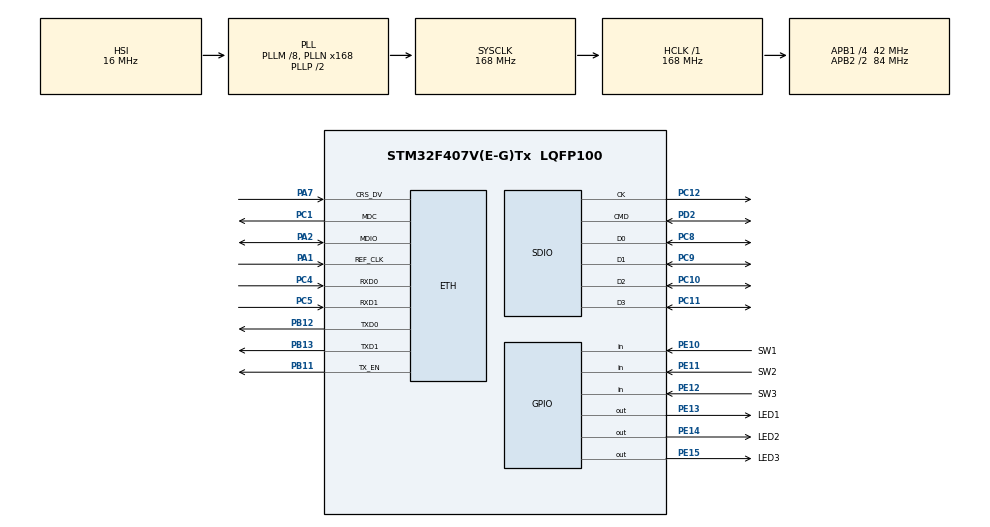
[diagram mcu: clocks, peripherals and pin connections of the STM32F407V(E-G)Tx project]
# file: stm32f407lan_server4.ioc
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Dma.Request0=SDIO_RX
Dma.Request1=SDIO_TX
Dma.SDIO_RX.0.Direction=DMA_PERIPH_TO_MEMORY
Dma.SDIO_RX.0.FIFOMode=DMA_FIFOMODE_ENABLE
Dma.SDIO_RX.0.FIFOThreshold=DMA_FIFO_THRESHOLD_FULL
Dma.SDIO_RX.0.Instance=DMA2_Stream3
Dma.SDIO_RX.0.MemBurst=DMA_MBURST_INC4
Dma.SDIO_RX.0.MemDataAlignment=DMA_MDATAALIGN_WORD
Dma.SDIO_RX.0.MemInc=DMA_MINC_ENABLE
Dma.SDIO_RX.0.Mode=DMA_PFCTRL
Dma.SDIO_RX.0.PeriphBurst=DMA_PBURST_INC4
Dma.SDIO_RX.0.PeriphDataAlignment=DMA_PDATAALIGN_WORD
Dma.SDIO_RX.0.PeriphInc=DMA_PINC_DISABLE
Dma.SDIO_RX.0.Priority=DMA_PRIORITY_LOW
Dma.SDIO_TX.1.Direction=DMA_MEMORY_TO_PERIPH
Dma.SDIO_TX.1.FIFOMode=DMA_FIFOMODE_ENABLE
Dma.SDIO_TX.1.FIFOThreshold=DMA_FIFO_THRESHOLD_FULL
Dma.SDIO_TX.1.Instance=DMA2_Stream6
Dma.SDIO_TX.1.MemBurst=DMA_MBURST_INC4
Dma.SDIO_TX.1.MemDataAlignment=DMA_MDATAALIGN_WORD
Dma.SDIO_TX.1.MemInc=DMA_MINC_ENABLE
Dma.SDIO_TX.1.Mode=DMA_PFCTRL
Dma.SDIO_TX.1.PeriphBurst=DMA_PBURST_INC4
Dma.SDIO_TX.1.PeriphDataAlignment=DMA_PDATAALIGN_WORD
Dma.SDIO_TX.1.PeriphInc=DMA_PINC_DISABLE
Dma.SDIO_TX.1.Priority=DMA_PRIORITY_LOW
ETH.MACAddr=00\:80\:E1\:00\:00\:01
ETH.MediaInterface=ETH_MEDIA_INTERFACE_RMII
ETH.PHY_Name_RMII=DP83848_PHY_ADDRESS
FATFS._MAX_SS=4096
FATFS._USE_LFN=2
FREERTOS.Tasks01=defaultTask,24,128,StartDefaultTask,Default,NULL,Dynamic,NULL,NULL
FREERTOS.configGENERATE_RUN_TIME_STATS=1
FREERTOS.configLIBRARY_MAX_SYSCALL_INTERRUPT_PRIORITY=2
FREERTOS.configTOTAL_HEAP_SIZE=8000
FREERTOS.configUSE_NEWLIB_REENTRANT=1
FREERTOS.configUSE_STATS_FORMATTING_FUNCTIONS=1
LWIP.GATEWAY_ADDRESS=192.168.000.001
LWIP.IP_ADDRESS=192.168.000.178
LWIP.LWIP_DHCP=0
LWIP.NETMASK_ADDRESS=255.255.255.000
LWIP.Version=v2.1.2_Cube
Mcu.Family=STM32F4
Mcu.Name=STM32F407V(E-G)Tx
Mcu.Package=LQFP100
NVIC.DMA2_Stream3_IRQn=true\:2\:0\:false\:false\:true\:true\:false\:true\:true
NVIC.DMA2_Stream6_IRQn=true\:2\:0\:false\:false\:true\:true\:false\:true\:true
NVIC.ETH_IRQn=true\:2\:0\:false\:false\:true\:true\:true\:true\:true
NVIC.PriorityGroup=NVIC_PRIORITYGROUP_4
NVIC.SDIO_IRQn=true\:2\:0\:false\:false\:true\:true\:true\:true\:true
NVIC.TIM1_UP_TIM10_IRQn=true\:2\:0\:false\:false\:true\:true\:true\:true\:true
NVIC.TIM6_DAC_IRQn=true\:15\:0\:false\:false\:true\:false\:false\:true\:true
NVIC.TimeBase=TIM6_DAC_IRQn
NVIC.TimeBaseIP=TIM6
PA1.Mode=RMII
PA1.Signal=ETH_REF_CLK
PA13.Mode=Trace_Asynchronous_SW
PA13.Signal=SYS_JTMS-SWDIO
PA14.Mode=Trace_Asynchronous_SW
PA14.Signal=SYS_JTCK-SWCLK
PA2.Mode=RMII
PA2.Signal=ETH_MDIO
PA7.Mode=RMII
PA7.Signal=ETH_CRS_DV
PB11.Mode=RMII
PB11.Signal=ETH_TX_EN
PB12.Mode=RMII
PB12.Signal=ETH_TXD0
PB13.Mode=RMII
PB13.Signal=ETH_TXD1
PB3.Mode=Trace_Asynchronous_SW
PB3.Signal=SYS_JTDO-SWO
PC1.Mode=RMII
PC1.Signal=ETH_MDC
PC10.GPIO_PuPd=GPIO_PULLUP
PC10.Mode=SD_4_bits_Wide_bus
PC10.Signal=SDIO_D2
PC11.GPIO_PuPd=GPIO_PULLUP
PC11.Mode=SD_4_bits_Wide_bus
PC11.Signal=SDIO_D3
PC12.GPIO_PuPd=GPIO_PULLUP
PC12.Mode=SD_4_bits_Wide_bus
PC12.Signal=SDIO_CK
PC4.Mode=RMII
PC4.Signal=ETH_RXD0
PC5.Mode=RMII
PC5.Signal=ETH_RXD1
PC8.GPIO_PuPd=GPIO_PULLUP
PC8.Mode=SD_4_bits_Wide_bus
PC8.Signal=SDIO_D0
PC9.GPIO_PuPd=GPIO_PULLUP
PC9.Mode=SD_4_bits_Wide_bus
PC9.Signal=SDIO_D1
PD2.GPIO_PuPd=GPIO_PULLUP
PD2.Mode=SD_4_bits_Wide_bus
PD2.Signal=SDIO_CMD
PE10.GPIO_Label=SW1
PE10.Signal=GPIO_Input
PE11.GPIO_Label=SW2
PE11.Signal=GPIO_Input
PE12.GPIO_Label=SW3
PE12.Signal=GPIO_Input
PE13.GPIO_Label=LED1
PE13.Signal=GPIO_Output
PE14.GPIO_Label=LED2
PE14.Signal=GPIO_Output
PE15.GPIO_Label=LED3
PE15.Signal=GPIO_Output
PH0-OSC_IN.Mode=HSE-External-Oscillator
PH0-OSC_IN.Signal=RCC_OSC_IN
PH1-OSC_OUT.Mode=HSE-External-Oscillator
PH1-OSC_OUT.Signal=RCC_OSC_OUT
ProjectManager.HeapSize=0x2000
ProjectManager.StackSize=0x4000
ProjectManager.TargetToolchain=STM32CubeIDE
RCC.48MHZClocksFreq_Value=42000000
RCC.AHBFreq_Value=168000000
RCC.APB1CLKDivider=RCC_HCLK_DIV4
RCC.APB1Freq_Value=42000000
RCC.APB1TimFreq_Value=84000000
RCC.APB2CLKDivider=RCC_HCLK_DIV2
RCC.APB2Freq_Value=84000000
RCC.APB2TimFreq_Value=168000000
RCC.CortexFreq_Value=168000000
RCC.HCLKFreq_Value=168000000
RCC.HSE_VALUE=25000000
RCC.HSI_VALUE=16000000
RCC.LSE_VALUE=32768
RCC.PLLM=8
RCC.PLLN=168
RCC.PLLQ=8
RCC.SYSCLKFreq_VALUE=168000000
RCC.SYSCLKSource=RCC_SYSCLKSOURCE_PLLCLK
RCC.VCOOutputFreq_Value=336000000
SDIO.ClockDiv=4
TIM10.Period=8399
VP_FATFS_VS_SDIO.Mode=SDIO
VP_FREERTOS_VS_CMSIS_V2.Mode=CMSIS_V2
VP_LWIP_VS_Enabled.Mode=Enabled
VP_SYS_VS_tim6.Mode=TIM6
VP_TIM10_VS_ClockSourceINT.Mode=Enable_Timer
board=custom

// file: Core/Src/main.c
/* USER CODE BEGIN Header */
/**
  ******************************************************************************
  * @file           : main.c
  * @brief          : Main program body
  ******************************************************************************
  * @attention
  *
  * <h2><center>&copy; Copyright (c) 2022 STMicroelectronics.
  * All rights reserved.</center></h2>
  *
  * This software component is licensed by ST under BSD 3-Clause license,
  * the "License"; You may not use this file except in compliance with the
  * License. You may obtain a copy of the License at:
  *                        opensource.org/licenses/BSD-3-Clause
  *
  ******************************************************************************
  */
/* USER CODE END Header */
#include "main.h"
#include "cmsis_os.h"
#include "fatfs.h"
#include "lwip.h"

SD_HandleTypeDef hsd;
DMA_HandleTypeDef hdma_sdio_rx;
DMA_HandleTypeDef hdma_sdio_tx;

TIM_HandleTypeDef htim10;

/* Definitions for defaultTask */
osThreadId_t defaultTaskHandle;
const osThreadAttr_t defaultTask_attributes = {
  .name = "defaultTask",
  .stack_size = 128 * 4,
  .priority = (osPriority_t) osPriorityNormal,
};
/* USER CODE BEGIN PV */
extern unsigned long ulHighFrequencyTimerTicks; // Для статистики freeRtos (переменная определена в stm32f4xx_it.c)
/* USER CODE END PV */

void SystemClock_Config(void);
static void MX_GPIO_Init(void);
static void MX_DMA_Init(void);
static void MX_SDIO_SD_Init(void);
static void MX_TIM10_Init(void);
void StartDefaultTask(void *argument);

/* USER CODE BEGIN 0 */

static FATFS Fs;   /* Work area (filesystem object) for logical drive */
FRESULT fresult;   /* FatFs return code */

// Вывод в SWO
int __io_putchar(int ch)
{
 // Write character to ITM ch.0
 ITM_SendChar(ch);
 return(ch);
}

void sd_up()
{
	MX_SDIO_SD_Init();
	MX_FATFS_Init();
}

// Для статистики
void configureTimerForRunTimeStats(void)
{
    ulHighFrequencyTimerTicks = 0;
    HAL_TIM_Base_Start_IT(&htim10);
}

unsigned long getRunTimeCounterValue(void)
{
	return ulHighFrequencyTimerTicks;
}

/* USER CODE END 0 */

int main(void)
{

  /* MCU Configuration--------------------------------------------------------*/

  /* Reset of all peripherals, Initializes the Flash interface and the Systick. */
  HAL_Init();

  /* Configure the system clock */
  SystemClock_Config();

  /* Initialize all configured peripherals */
  MX_GPIO_Init();
  MX_DMA_Init();
  MX_SDIO_SD_Init();
  MX_FATFS_Init();
  MX_TIM10_Init();
  /* USER CODE BEGIN 2 */
  printf("Init ok \n");
  // Погасить все светодиоды
  HAL_GPIO_WritePin(LED1_GPIO_Port, LED1_Pin, GPIO_PIN_SET); // Соединение
  HAL_GPIO_WritePin(LED2_GPIO_Port, LED2_Pin, GPIO_PIN_SET); // Блинк 1 сек - система не упала
  HAL_GPIO_WritePin(LED3_GPIO_Port, LED3_Pin, GPIO_PIN_SET); // Ошибка SD - зажигается и не сбрасывается
  printf("Leds set OFF \n");
/*  while (1)
    {
	  HAL_GPIO_TogglePin(LED1_GPIO_Port, LED1_Pin);
	  HAL_Delay(500);
    }
*/

  /* USER CODE END 2 */

  /* Init scheduler */
  osKernelInitialize();

  /* Create the thread(s) */
  /* creation of defaultTask */
  defaultTaskHandle = osThreadNew(StartDefaultTask, NULL, &defaultTask_attributes);

  /* Start scheduler */
  osKernelStart();

  /* We should never get here as control is now taken by the scheduler */
  /* Infinite loop */
  while (1)
  {

    /* USER CODE BEGIN 3 */
	//  MX_LWIP_Process();
	  HAL_GPIO_TogglePin(LED1_GPIO_Port, LED1_Pin);
  }
  /* USER CODE END 3 */
}

void SystemClock_Config(void)
{
  RCC_OscInitTypeDef RCC_OscInitStruct = {0};
  RCC_ClkInitTypeDef RCC_ClkInitStruct = {0};

  /** Configure the main internal regulator output voltage
  */
  __HAL_RCC_PWR_CLK_ENABLE();
  __HAL_PWR_VOLTAGESCALING_CONFIG(PWR_REGULATOR_VOLTAGE_SCALE1);
  /** Initializes the RCC Oscillators according to the specified parameters
  * in the RCC_OscInitTypeDef structure.
  */
  RCC_OscInitStruct.OscillatorType = RCC_OSCILLATORTYPE_HSI;
  RCC_OscInitStruct.HSIState = RCC_HSI_ON;
  RCC_OscInitStruct.HSICalibrationValue = RCC_HSICALIBRATION_DEFAULT;
  RCC_OscInitStruct.PLL.PLLState = RCC_PLL_ON;
  RCC_OscInitStruct.PLL.PLLSource = RCC_PLLSOURCE_HSI;
  RCC_OscInitStruct.PLL.PLLM = 8;
  RCC_OscInitStruct.PLL.PLLN = 168;
  RCC_OscInitStruct.PLL.PLLP = RCC_PLLP_DIV2;
  RCC_OscInitStruct.PLL.PLLQ = 8;
  if (HAL_RCC_OscConfig(&RCC_OscInitStruct) != HAL_OK)
  {
    Error_Handler();
  }
  /** Initializes the CPU, AHB and APB buses clocks
  */
  RCC_ClkInitStruct.ClockType = RCC_CLOCKTYPE_HCLK|RCC_CLOCKTYPE_SYSCLK
                              |RCC_CLOCKTYPE_PCLK1|RCC_CLOCKTYPE_PCLK2;
  RCC_ClkInitStruct.SYSCLKSource = RCC_SYSCLKSOURCE_PLLCLK;
  RCC_ClkInitStruct.AHBCLKDivider = RCC_SYSCLK_DIV1;
  RCC_ClkInitStruct.APB1CLKDivider = RCC_HCLK_DIV4;
  RCC_ClkInitStruct.APB2CLKDivider = RCC_HCLK_DIV2;

  if (HAL_RCC_ClockConfig(&RCC_ClkInitStruct, FLASH_LATENCY_5) != HAL_OK)
  {
    Error_Handler();
  }
}

static void MX_SDIO_SD_Init(void)
{

  hsd.Instance = SDIO;
  hsd.Init.ClockEdge = SDIO_CLOCK_EDGE_RISING;
  hsd.Init.ClockBypass = SDIO_CLOCK_BYPASS_DISABLE;
  hsd.Init.ClockPowerSave = SDIO_CLOCK_POWER_SAVE_DISABLE;
  hsd.Init.BusWide = SDIO_BUS_WIDE_1B;
  hsd.Init.HardwareFlowControl = SDIO_HARDWARE_FLOW_CONTROL_DISABLE;
  hsd.Init.ClockDiv = 4;

}

static void MX_TIM10_Init(void)
{

  htim10.Instance = TIM10;
  htim10.Init.Prescaler = 0;
  htim10.Init.CounterMode = TIM_COUNTERMODE_UP;
  htim10.Init.Period = 8399;
  htim10.Init.ClockDivision = TIM_CLOCKDIVISION_DIV1;
  htim10.Init.AutoReloadPreload = TIM_AUTORELOAD_PRELOAD_DISABLE;
  if (HAL_TIM_Base_Init(&htim10) != HAL_OK)
  {
    Error_Handler();
  }

}

static void MX_DMA_Init(void)
{

  /* DMA controller clock enable */
  __HAL_RCC_DMA2_CLK_ENABLE();

  /* DMA interrupt init */
  /* DMA2_Stream3_IRQn interrupt configuration */
  HAL_NVIC_SetPriority(DMA2_Stream3_IRQn, 2, 0);
  HAL_NVIC_EnableIRQ(DMA2_Stream3_IRQn);
  /* DMA2_Stream6_IRQn interrupt configuration */
  HAL_NVIC_SetPriority(DMA2_Stream6_IRQn, 2, 0);
  HAL_NVIC_EnableIRQ(DMA2_Stream6_IRQn);

}

static void MX_GPIO_Init(void)
{
  GPIO_InitTypeDef GPIO_InitStruct = {0};

  /* GPIO Ports Clock Enable */
  __HAL_RCC_GPIOH_CLK_ENABLE();
  __HAL_RCC_GPIOC_CLK_ENABLE();
  __HAL_RCC_GPIOA_CLK_ENABLE();
  __HAL_RCC_GPIOE_CLK_ENABLE();
  __HAL_RCC_GPIOB_CLK_ENABLE();
  __HAL_RCC_GPIOD_CLK_ENABLE();

  /*Configure GPIO pin Output Level */
  HAL_GPIO_WritePin(GPIOE, LED1_Pin|LED2_Pin|LED3_Pin, GPIO_PIN_RESET);

  /*Configure GPIO pins : SW1_Pin SW2_Pin SW3_Pin */
  GPIO_InitStruct.Pin = SW1_Pin|SW2_Pin|SW3_Pin;
  GPIO_InitStruct.Mode = GPIO_MODE_INPUT;
  GPIO_InitStruct.Pull = GPIO_NOPULL;
  HAL_GPIO_Init(GPIOE, &GPIO_InitStruct);

  /*Configure GPIO pins : LED1_Pin LED2_Pin LED3_Pin */
  GPIO_InitStruct.Pin = LED1_Pin|LED2_Pin|LED3_Pin;
  GPIO_InitStruct.Mode = GPIO_MODE_OUTPUT_PP;
  GPIO_InitStruct.Pull = GPIO_NOPULL;
  GPIO_InitStruct.Speed = GPIO_SPEED_FREQ_LOW;
  HAL_GPIO_Init(GPIOE, &GPIO_InitStruct);

}

void StartDefaultTask(void *argument)
{
  /* init code for LWIP */
  MX_LWIP_Init();
  /* USER CODE BEGIN 5 */
  printf("MX_LWIP_Init ok \n");

   http_server_init();
   printf("http_server_init ok \n");

  /* Infinite loop */
  for(;;)
  {
    osDelay(100);
  }
  /* USER CODE END 5 */
}

void Error_Handler(void)
{
  __disable_irq();
  while (1)
  {
  }
}

/************************ (C) COPYRIGHT STMicroelectronics *****END OF FILE****/

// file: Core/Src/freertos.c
/* USER CODE BEGIN Header */
/**
  ******************************************************************************
  * File Name          : freertos.c
  * Description        : Code for freertos applications
  ******************************************************************************
  * @attention
  *
  * <h2><center>&copy; Copyright (c) 2023 STMicroelectronics.
  * All rights reserved.</center></h2>
  *
  * This software component is licensed by ST under Ultimate Liberty license
  * SLA0044, the "License"; You may not use this file except in compliance with
  * the License. You may obtain a copy of the License at:
  *                             www.st.com/SLA0044
  *
  ******************************************************************************
  */
/* USER CODE END Header */

#include "FreeRTOS.h"
#include "task.h"
#include "main.h"

/* Hook prototypes */
void configureTimerForRunTimeStats(void);
unsigned long getRunTimeCounterValue(void);

/* USER CODE BEGIN 1 */
/* Functions needed when configGENERATE_RUN_TIME_STATS is on */
__weak void configureTimerForRunTimeStats(void)
{

}

__weak unsigned long getRunTimeCounterValue(void)
{
return 0;
}
/* USER CODE END 1 */

/************************ (C) COPYRIGHT STMicroelectronics *****END OF FILE****/
